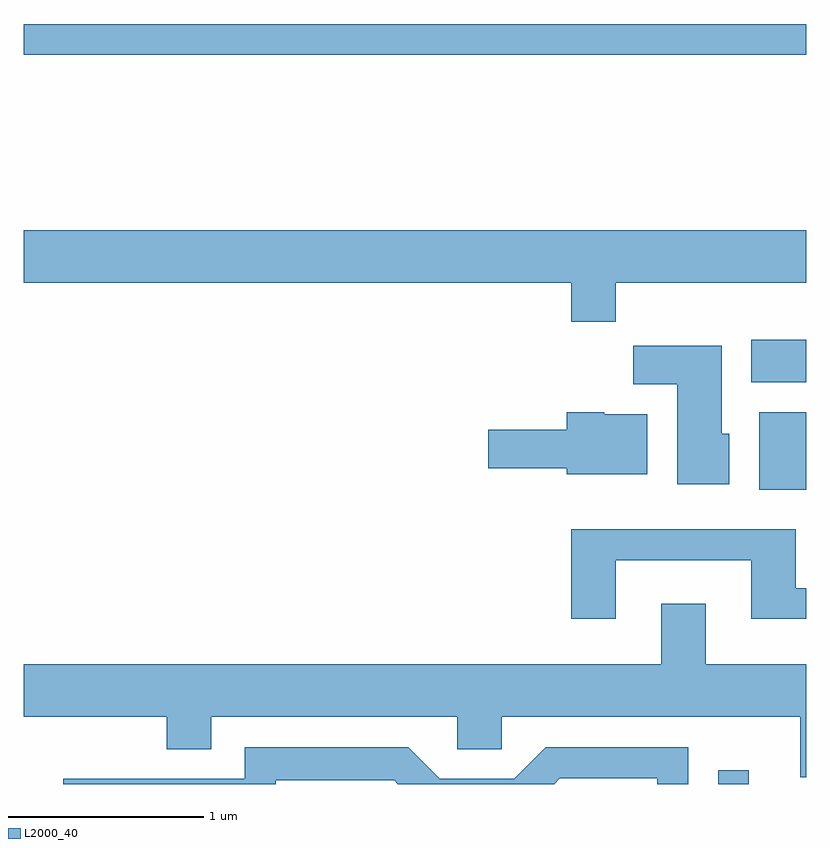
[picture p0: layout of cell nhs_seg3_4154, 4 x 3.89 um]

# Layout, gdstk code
import gdstk
lib = gdstk.Library(unit=1e-6, precision=1e-09)
def R(c, l, rs):  # rectangles x0, y0, x1, y1
    for r in rs: c.add(gdstk.rectangle(r[:2], r[2:], *l))
def P(c, l, *ps):  # polygons
    for p in ps: c.add(gdstk.Polygon(p, *l))
L2000_40 = (2000, 40)

nhs_seg3_4154 = lib.new_cell('nhs_seg3_4154')
R(nhs_seg3_4154, L2000_40, [(311.161,1127.892,311.319,1127.963), (311.371,1129.396,311.611,1129.794), (311.331,1129.946,311.611,1130.164), (307.611,1131.621,311.611,1131.779)])
P(nhs_seg3_4154, L2000_40, [(310.639,1130.456),(311.611,1130.456),(311.611,1130.724),(307.611,1130.724),(307.611,1130.456),(310.411,1130.456),(310.411,1130.256),(310.639,1130.256)],
  [(311.219,1129.684),(311.179,1129.684),(311.179,1130.134),(310.726,1130.134),(310.726,1129.936),(310.951,1129.936),(310.951,1129.426),(311.219,1129.426)],
  [(310.799,1129.784),(310.58,1129.784),(310.58,1129.794),(310.386,1129.794),(310.386,1129.704),(309.986,1129.704),(309.986,1129.506),(310.386,1129.506),(310.386,1129.476),(310.799,1129.476)],
  [(310.639,1129.036),(311.331,1129.036),(311.331,1128.736),(311.611,1128.736),(311.611,1128.894),(311.559,1128.894),(311.559,1129.194),(310.411,1129.194),(310.411,1128.736),(310.639,1128.736)],
  [(311.611,1128.504),(311.099,1128.504),(311.099,1128.814),(310.871,1128.814),(310.871,1128.504),(307.611,1128.504),(307.611,1128.236),(308.341,1128.236),(308.341,1128.071),(308.569,1128.071),(308.569,1128.236),(309.826,1128.236),(309.826,1128.071),(310.054,1128.071),(310.054,1128.236),(311.581,1128.236),(311.581,1127.926),(311.611,1127.926)],
  [(308.899,1127.911),(309.504,1127.911),(309.523,1127.892),(310.323,1127.892),(310.352,1127.921),(310.851,1127.921),(310.851,1127.892),(311.009,1127.892),(311.009,1128.079),(310.279,1128.079),(310.119,1127.919),(309.737,1127.919),(309.577,1128.079),(308.741,1128.079),(308.741,1127.919),(307.813,1127.919),(307.813,1127.892),(308.899,1127.892)])

lib.write_gds('nhs_seg3_4154.gds')
